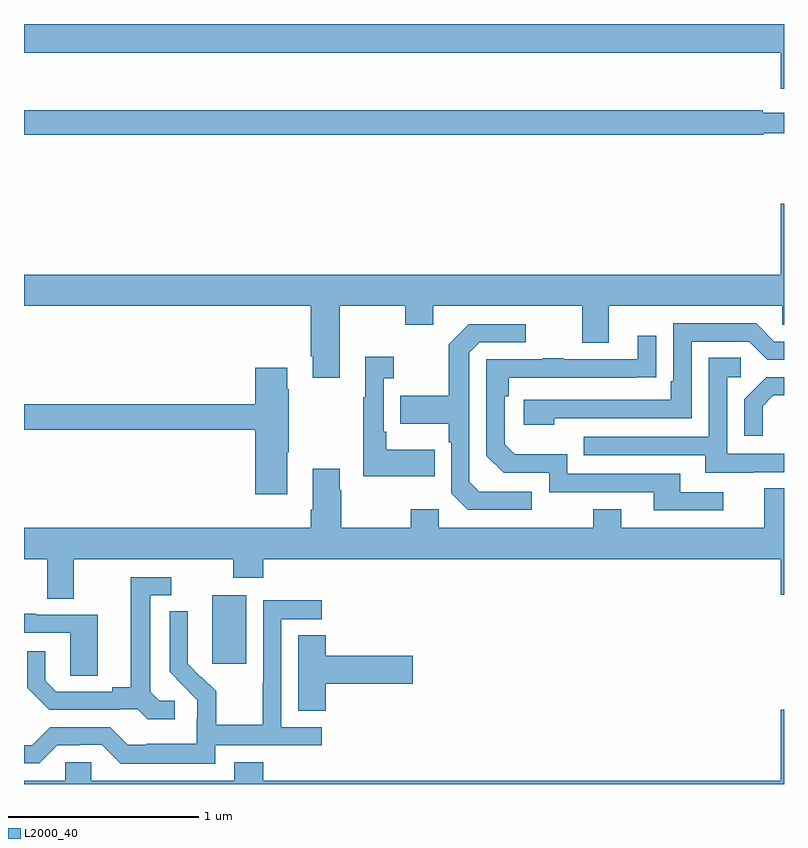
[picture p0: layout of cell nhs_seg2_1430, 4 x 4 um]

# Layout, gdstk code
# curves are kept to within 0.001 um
import gdstk
lib = gdstk.Library(unit=1e-6, precision=1e-09)
def R(c, l, rs):  # rectangles x0, y0, x1, y1
    for r in rs: c.add(gdstk.rectangle(r[:2], r[2:], *l))
def P(c, l, *ps):  # polygons
    for p in ps: c.add(gdstk.Polygon(p, *l))
L2000_40 = (2000, 40)

nhs_seg2_1430 = lib.new_cell('nhs_seg2_1430')
R(nhs_seg2_1430, L2000_40, [(185.99,632.433,186.169,632.794)])
P(nhs_seg2_1430, L2000_40, [(189,635.8),(185,635.8),(185,635.648),(188.984,635.648),(188.984,635.46),(189,635.46)],
  [(188.89,635.226),(189,635.226),(189,635.334),(188.888,635.334),(188.888,635.347),(185,635.347),(185,635.218),(188.89,635.218)],
  [(186.661,634.316),(187.006,634.316),(187.006,634.217),(187.153,634.217),(187.153,634.316),(187.937,634.316),(187.937,634.122),(188.077,634.122),(188.077,634.316),(188.991,634.316),(188.991,634.218),(189,634.218),(189,634.855),(188.984,634.855),(188.984,634.48),(185,634.48),(185,634.316),(186.509,634.316),(186.509,634.051),(186.521,634.051),(186.521,633.939),(186.661,633.939)],
  [(187.79,633.726),(188.514,633.726),(188.514,634.128),(188.817,634.128),(188.913,634.032),(189,634.032),(189,634.128),(188.949,634.128),(188.853,634.224),(188.418,634.224),(188.418,633.919),(188.405,633.919),(188.405,633.822),(187.629,633.822),(187.629,633.692),(187.79,633.692)],
  [(187.672,633.339),(187.395,633.339),(187.344,633.39),(187.344,634.071),(187.398,634.125),(187.642,634.125),(187.642,634.221),(187.341,634.221),(187.236,634.115),(187.236,633.843),(186.979,633.843),(186.979,633.695),(187.236,633.695),(187.236,633.599),(187.248,633.599),(187.248,633.33),(187.335,633.243),(187.672,633.243)],
  [(188.68,633.336),(188.455,633.336),(188.455,633.432),(187.86,633.432),(187.86,633.535),(187.583,633.535),(187.53,633.588),(187.53,633.842),(187.55,633.842),(187.55,633.939),(188.327,633.94),(188.327,634.159),(188.231,634.159),(188.231,634.035),(187.841,634.035),(187.841,634.04),(187.729,634.04),(187.729,634.035),(187.434,634.035),(187.434,633.528),(187.524,633.438),(187.764,633.438),(187.764,633.336),(188.315,633.336),(188.315,633.24),(188.68,633.24)],
  [(187.163,633.559),(186.907,633.559),(186.907,633.655),(186.894,633.655),(186.894,633.935),(186.946,633.935),(186.946,634.048),(186.797,634.048),(186.797,633.835),(186.786,633.835),(186.786,633.419),(187.163,633.419)],
  [(188.839,633.441),(189,633.441),(189,633.537),(188.7,633.537),(188.7,633.942),(188.773,633.942),(188.773,634.043),(188.604,634.043),(188.604,633.627),(187.945,633.627),(187.945,633.531),(188.585,633.531),(188.585,633.437),(188.839,633.437)],
  [(186.385,633.547),(186.393,633.547),(186.393,633.878),(186.385,633.878),(186.385,633.991),(186.218,633.991),(186.218,633.8),(185,633.8),(185,633.664),(186.218,633.664),(186.218,633.324),(186.385,633.324)],
  [(188.887,633.789),(188.944,633.846),(189,633.846),(189,633.942),(188.906,633.942),(188.79,633.826),(188.79,633.633),(188.887,633.633)],
  [(185.263,632.984),(186.1,632.984),(186.1,632.885),(186.26,632.885),(186.26,632.984),(188.984,632.984),(188.984,632.796),(189,632.796),(189,633.356),(188.897,633.356),(188.897,633.148),(188.143,633.148),(188.143,633.247),(187.996,633.247),(187.996,633.148),(187.182,633.148),(187.182,633.247),(187.036,633.247),(187.036,633.148),(186.669,633.148),(186.669,633.347),(186.661,633.347),(186.661,633.46),(186.521,633.46),(186.521,633.244),(186.509,633.244),(186.509,633.148),(185,633.148),(185,632.984),(185.123,632.984),(185.123,632.776),(185.263,632.776)],
  [(185.794,632.238),(185.712,632.238),(185.665,632.285),(185.665,632.793),(185.776,632.793),(185.776,632.889),(185.561,632.889),(185.561,632.309),(185.465,632.309),(185.465,632.286),(185.17,632.286),(185.113,632.343),(185.113,632.5),(185.016,632.5),(185.016,632.306),(185.132,632.19),(185.504,632.19),(185.504,632.193),(185.598,632.193),(185.65,632.141),(185.794,632.141)],
  [(186.006,632.004),(186.568,632.004),(186.568,632.1),(186.354,632.1),(186.354,632.667),(186.568,632.667),(186.568,632.766),(186.258,632.766),(186.258,632.336),(186.256,632.336),(186.256,632.113),(186.011,632.113),(186.011,632.287),(185.934,632.364),(185.931,632.361),(185.861,632.432),(185.862,632.708),(185.766,632.708),(185.766,632.39),(185.912,632.242),(185.912,632.145),(185.91,632.145),(185.91,632.011),(185.647,632.011),(185.647,632.007),(185.547,632.007),(185.454,632.1),(185.139,632.1),(185.043,632.004),(185,632.004),(185,631.908),(185.079,631.908),(185.175,632.004),(185.294,632.004),(185.294,632.007),(185.409,632.007),(185.509,631.907),(186.006,631.907)],
  [(185.389,632.691),(185.065,632.691),(185.065,632.695),(185,632.695),(185,632.595),(185.244,632.595),(185.244,632.371),(185.389,632.371)],
  [(186.587,632.327),(187.045,632.327),(187.045,632.474),(186.587,632.474),(186.587,632.582),(186.443,632.582),(186.443,632.185),(186.587,632.185)],
  [(189,632.191),(188.984,632.191),(188.984,631.816),(186.26,631.816),(186.26,631.915),(186.107,631.915),(186.107,631.816),(185.355,631.816),(185.355,631.914),(185.217,631.914),(185.217,631.816),(185,631.816),(185,631.8),(189,631.8)])

lib.write_gds('nhs_seg2_1430.gds')
